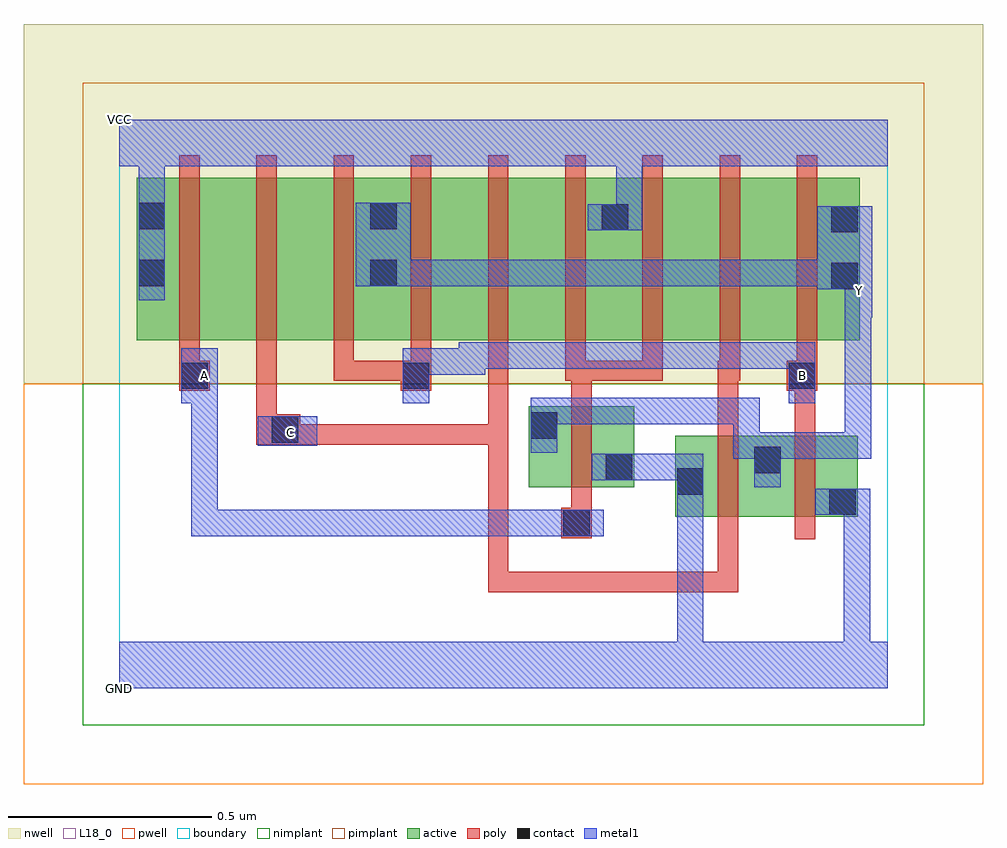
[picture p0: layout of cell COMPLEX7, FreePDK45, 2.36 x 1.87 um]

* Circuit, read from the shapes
.subckt COMPLEX7 A B C GND VCC Y
M1 GND A Y VSUBS nfet w=0.2u l=0.05u
M2 Y C GND VSUBS nfet w=0.2u l=0.05u
M3 GND B Y VSUBS nfet w=0.2u l=0.05u
M4 n1 A VCC n2 pfet w=0.4u l=0.05u
M5 n3 C n1 n2 pfet w=0.4u l=0.05u
M6 Y B n3 n2 pfet w=0.4u l=0.05u
M7 n4 B Y n2 pfet w=0.4u l=0.05u
M8 n5 C n4 n2 pfet w=0.4u l=0.05u
M9 VCC A n5 n2 pfet w=0.4u l=0.05u
M10 n6 A VCC n2 pfet w=0.4u l=0.05u
M11 n7 C n6 n2 pfet w=0.4u l=0.05u
M12 Y B n7 n2 pfet w=0.4u l=0.05u
.ends

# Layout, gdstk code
import gdstk
lib = gdstk.Library(unit=1e-6, precision=1e-09)
def R(c, l, rs):  # rectangles x0, y0, x1, y1
    for r in rs: c.add(gdstk.rectangle(r[:2], r[2:], *l))
def A(c, l, x, y, w, h, nx, ny, dx, dy):  # array of equal rectangles
    R(c, l, [(x+i*dx, y+j*dy, x+i*dx+w, y+j*dy+h) for i in range(nx) for j in range(ny)])
active = (1, 0)
pwell = (2, 0)
nwell = (3, 0)
nimplant = (4, 0)
pimplant = (5, 0)
poly = (9, 0)
contact = (10, 0)
metal1 = (11, 0)
L18_0 = (18, 0)
boundary = (235, 0)

complex7 = lib.new_cell('COMPLEX7')
A(complex7, active, 0.042, 0.857, 0.225, 0.4, 3, 1, 0.57, 0)
A(complex7, active, 0.267, 0.857, 0.19, 0.4, 3, 1, 0.57, 0)
R(complex7, active, [(1.367,0.422,1.442,0.622), (1.367,0.422,1.632,0.622), (1.557,0.422,1.817,0.622), (1.557,0.422,1.632,0.6), (1.742,0.422,1.817,0.622), (1.007,0.495,1.082,0.695), (1.007,0.495,1.267,0.695), (1.192,0.495,1.267,0.695), (0.042,0.857,0.117,1.205), (0.457,0.857,0.687,1.257), (1.027,0.857,1.257,1.257), (1.597,0.857,1.822,1.257), (1.747,0.857,1.822,1.2), (0.612,0.907,0.687,1.2), (1.182,0.907,1.257,1.205)])
R(complex7, pwell, [(-0.235,-0.235,2.125,0.75)])
R(complex7, nwell, [(-0.235,0.75,2.125,1.635)])
R(complex7, nimplant, [(-0.09,-0.09,1.98,0.75)])
R(complex7, pimplant, [(-0.09,0.75,1.98,1.49)])
A(complex7, poly, 1.097, 0.757, 0.05, 0.095, 4, 1, 0.19, 0)
A(complex7, poly, 0.147, 0.802, 0.05, 0.51, 9, 1, 0.19, 0)
R(complex7, poly, [(0.907,0.237,0.957,0.287), (0.907,0.237,0.957,0.287), (0.907,0.237,0.957,0.287), (0.907,0.237,0.957,0.287), (0.907,0.237,0.957,0.287), (0.907,0.237,1.205,0.287), (0.907,0.237,0.957,0.65), (1.155,0.237,1.205,0.287), (1.155,0.237,1.205,0.287), (1.155,0.237,1.205,0.287), (1.155,0.237,1.39,0.287), (1.34,0.237,1.39,0.287), (1.34,0.237,1.39,0.287), (1.34,0.237,1.39,0.287), (1.34,0.237,1.522,0.287), (1.472,0.237,1.522,0.417), (1.472,0.237,1.522,0.287), (1.472,0.237,1.522,0.287), (1.472,0.237,1.522,0.287), (1.472,0.367,1.522,0.677), (1.662,0.367,1.712,0.677), (1.087,0.37,1.162,0.445), (1.112,0.395,1.162,0.49), (1.112,0.44,1.162,0.75), (0.337,0.6,0.445,0.675), (0.395,0.6,0.445,0.65), (0.395,0.6,0.445,0.65), (0.395,0.6,0.445,0.65), (0.395,0.6,0.445,0.65), (0.395,0.6,0.445,0.65), (0.395,0.6,0.445,0.65), (0.395,0.6,0.577,0.65), (0.527,0.6,0.577,0.65), (0.527,0.6,0.692,0.65), (0.642,0.6,0.692,0.65), (0.642,0.6,0.825,0.65), (0.775,0.6,0.825,0.65), (0.775,0.6,0.825,0.65), (0.775,0.6,0.825,0.65), (0.775,0.6,0.957,0.65), (0.907,0.6,0.957,0.65), (0.907,0.6,0.957,0.65), (0.907,0.6,0.957,0.65), (0.907,0.6,0.957,0.65), (0.907,0.6,0.957,0.65), (0.907,0.6,0.957,0.852), (0.337,0.625,0.387,0.852), (1.472,0.627,1.522,0.807), (1.662,0.627,1.712,0.782), (1.112,0.7,1.162,0.807), (0.147,0.732,0.222,0.807), (0.692,0.732,0.767,0.807), (1.642,0.732,1.717,0.807), (0.147,0.757,0.197,0.852), (0.527,0.757,0.577,0.852), (0.527,0.757,0.577,0.807), (0.527,0.757,0.692,0.807), (0.642,0.757,0.692,0.807), (0.642,0.757,0.742,0.807), (0.717,0.757,0.767,0.852), (1.097,0.757,1.162,0.807), (1.112,0.757,1.162,0.807), (1.112,0.757,1.162,0.807), (1.112,0.757,1.337,0.807), (1.287,0.757,1.337,0.807), (1.472,0.757,1.527,0.807)])
R(complex7, contact, [(1.092,0.375,1.157,0.44), (1.747,0.427,1.812,0.492), (1.372,0.477,1.437,0.542), (1.197,0.512,1.262,0.577), (1.562,0.53,1.627,0.595), (0.375,0.605,0.44,0.67), (1.012,0.615,1.077,0.68), (0.152,0.737,0.217,0.802), (0.697,0.737,0.762,0.802), (1.647,0.737,1.712,0.802), (1.752,0.982,1.817,1.047), (0.047,0.99,0.112,1.055), (0.617,0.99,0.682,1.055), (1.752,1.122,1.817,1.187), (1.187,1.127,1.252,1.192), (0.047,1.13,0.112,1.195), (0.617,1.13,0.682,1.195)])
R(complex7, metal1, [(0,0,1.89,0.115), (1.372,0.05,1.437,0.115), (1.372,0.05,1.437,0.115), (1.372,0.05,1.437,0.115), (1.372,0.05,1.437,0.115), (1.372,0.05,1.437,0.115), (1.372,0.05,1.437,0.115), (1.372,0.05,1.437,0.507), (1.782,0.05,1.847,0.492), (0.177,0.375,0.242,0.44), (0.177,0.375,0.38,0.44), (0.177,0.375,0.242,0.767), (0.315,0.375,0.38,0.44), (0.315,0.375,0.38,0.44), (0.315,0.375,0.38,0.44), (0.315,0.375,0.517,0.44), (0.452,0.375,0.517,0.44), (0.452,0.375,0.655,0.44), (0.59,0.375,0.655,0.44), (0.59,0.375,0.655,0.44), (0.59,0.375,0.655,0.44), (0.59,0.375,0.9,0.44), (0.835,0.375,0.9,0.44), (0.835,0.375,0.9,0.44), (0.835,0.375,0.9,0.44), (0.835,0.375,0.9,0.44), (0.835,0.375,0.9,0.44), (0.835,0.375,0.9,0.44), (0.835,0.375,0.9,0.44), (0.835,0.375,1.037,0.44), (0.972,0.375,1.037,0.44), (0.972,0.375,1.122,0.44), (1.057,0.375,1.192,0.44), (1.712,0.427,1.847,0.492), (1.782,0.427,1.847,0.492), (1.782,0.427,1.847,0.492), (1.782,0.427,1.847,0.492), (1.782,0.427,1.847,0.492), (1.782,0.427,1.847,0.492), (1.782,0.427,1.847,0.492), (1.372,0.442,1.437,0.577), (1.562,0.495,1.627,0.63), (1.162,0.512,1.297,0.577), (1.232,0.512,1.352,0.577), (1.287,0.512,1.352,0.577), (1.287,0.512,1.437,0.577), (1.51,0.565,1.575,0.715), (1.51,0.565,1.627,0.63), (1.562,0.565,1.85,0.63), (1.785,0.565,1.85,0.63), (1.785,0.565,1.85,0.63), (1.785,0.565,1.85,0.63), (1.785,0.565,1.85,0.977), (1.012,0.58,1.077,0.715), (0.34,0.597,0.487,0.67), (1.012,0.65,1.077,0.715), (1.012,0.65,1.077,0.715), (1.012,0.65,1.215,0.715), (1.15,0.65,1.215,0.715), (1.15,0.65,1.215,0.715), (1.15,0.65,1.215,0.715), (1.15,0.65,1.437,0.715), (1.372,0.65,1.437,0.715), (1.372,0.65,1.575,0.715), (0.152,0.702,0.242,0.837), (0.177,0.702,0.242,0.767), (0.177,0.702,0.242,0.767), (0.697,0.702,0.762,0.837), (1.647,0.702,1.712,0.852), (0.697,0.772,0.9,0.837), (0.835,0.772,0.9,0.852), (0.835,0.787,0.9,0.852), (0.835,0.787,0.9,0.852), (0.835,0.787,1.037,0.852), (0.972,0.787,1.037,0.852), (0.972,0.787,1.037,0.852), (0.972,0.787,1.037,0.852), (0.972,0.787,1.3,0.852), (1.235,0.787,1.3,0.852), (1.235,0.787,1.335,0.852), (1.27,0.787,1.335,0.852), (1.27,0.787,1.49,0.852), (1.425,0.787,1.49,0.852), (1.425,0.787,1.525,0.852), (1.46,0.787,1.525,0.852), (1.46,0.787,1.64,0.852), (1.575,0.787,1.64,0.852), (1.575,0.787,1.712,0.852), (1.785,0.912,1.852,1.047), (0.047,0.955,0.112,1.23), (1.717,0.982,1.852,1.187), (1.785,0.982,1.85,1.047), (0.582,0.99,0.717,1.195), (0.652,0.99,0.717,1.055), (0.652,0.99,0.717,1.055), (0.652,0.99,0.9,1.055), (0.835,0.99,0.9,1.055), (0.835,0.99,0.9,1.055), (0.835,0.99,0.9,1.055), (0.835,0.99,1.037,1.055), (0.972,0.99,1.037,1.055), (0.972,0.99,1.037,1.055), (0.972,0.99,1.037,1.055), (0.972,0.99,1.3,1.055), (1.235,0.99,1.3,1.055), (1.235,0.99,1.33,1.055), (1.265,0.99,1.33,1.055), (1.265,0.99,1.49,1.055), (1.425,0.99,1.49,1.055), (1.425,0.99,1.49,1.055), (1.425,0.99,1.49,1.055), (1.425,0.99,1.64,1.055), (1.575,0.99,1.64,1.055), (1.575,0.99,1.782,1.055), (1.717,0.99,1.782,1.055), (1.717,0.99,1.782,1.055), (1.152,1.127,1.287,1.192), (1.222,1.127,1.287,1.35), (0.047,1.165,0.112,1.35), (0,1.285,1.89,1.4)])
R(complex7, L18_0, [(0,0,1.89,0.115), (1.372,0.05,1.437,0.115), (1.372,0.05,1.437,0.115), (1.372,0.05,1.437,0.115), (1.372,0.05,1.437,0.115), (1.372,0.05,1.437,0.115), (1.372,0.05,1.437,0.115), (1.372,0.05,1.437,0.507), (1.782,0.05,1.847,0.492), (0.177,0.375,0.242,0.44), (0.177,0.375,0.242,0.767), (0.177,0.375,0.38,0.44), (0.315,0.375,0.38,0.44), (0.315,0.375,0.38,0.44), (0.315,0.375,0.38,0.44), (0.315,0.375,0.517,0.44), (0.452,0.375,0.517,0.44), (0.452,0.375,0.655,0.44), (0.59,0.375,0.655,0.44), (0.59,0.375,0.655,0.44), (0.59,0.375,0.655,0.44), (0.59,0.375,0.9,0.44), (0.835,0.375,0.9,0.44), (0.835,0.375,0.9,0.44), (0.835,0.375,0.9,0.44), (0.835,0.375,0.9,0.44), (0.835,0.375,0.9,0.44), (0.835,0.375,0.9,0.44), (0.835,0.375,0.9,0.44), (0.835,0.375,1.037,0.44), (0.972,0.375,1.037,0.44), (0.972,0.375,1.122,0.44), (1.057,0.375,1.192,0.44), (1.712,0.427,1.847,0.492), (1.782,0.427,1.847,0.492), (1.782,0.427,1.847,0.492), (1.782,0.427,1.847,0.492), (1.782,0.427,1.847,0.492), (1.782,0.427,1.847,0.492), (1.782,0.427,1.847,0.492), (1.372,0.442,1.437,0.577), (1.562,0.495,1.627,0.63), (1.162,0.512,1.297,0.577), (1.232,0.512,1.352,0.577), (1.287,0.512,1.352,0.577), (1.287,0.512,1.437,0.577), (1.51,0.565,1.575,0.715), (1.51,0.565,1.627,0.63), (1.562,0.565,1.85,0.63), (1.785,0.565,1.85,0.63), (1.785,0.565,1.85,0.63), (1.785,0.565,1.85,0.63), (1.785,0.565,1.85,0.977), (1.012,0.58,1.077,0.715), (0.34,0.597,0.487,0.67), (0.387,0.597,0.452,0.662), (1.012,0.65,1.077,0.715), (1.012,0.65,1.077,0.715), (1.012,0.65,1.215,0.715), (1.15,0.65,1.215,0.715), (1.15,0.65,1.215,0.715), (1.15,0.65,1.215,0.715), (1.15,0.65,1.437,0.715), (1.372,0.65,1.437,0.715), (1.372,0.65,1.575,0.715), (0.152,0.702,0.242,0.837), (0.177,0.702,0.242,0.767), (0.177,0.702,0.242,0.767), (0.697,0.702,0.762,0.837), (1.647,0.702,1.712,0.852), (0.177,0.737,0.242,0.802), (1.647,0.737,1.712,0.802), (0.697,0.772,0.9,0.837), (0.835,0.772,0.9,0.852), (0.835,0.787,0.9,0.852), (0.835,0.787,0.9,0.852), (0.835,0.787,1.037,0.852), (0.972,0.787,1.037,0.852), (0.972,0.787,1.037,0.852), (0.972,0.787,1.037,0.852), (0.972,0.787,1.3,0.852), (1.235,0.787,1.3,0.852), (1.235,0.787,1.335,0.852), (1.27,0.787,1.335,0.852), (1.27,0.787,1.49,0.852), (1.425,0.787,1.49,0.852), (1.425,0.787,1.525,0.852), (1.46,0.787,1.525,0.852), (1.46,0.787,1.64,0.852), (1.575,0.787,1.64,0.852), (1.575,0.787,1.712,0.852), (1.785,0.912,1.852,1.047), (1.787,0.947,1.852,1.012), (0.047,0.955,0.112,1.23), (1.717,0.982,1.852,1.187), (1.785,0.982,1.85,1.047), (0.582,0.99,0.717,1.195), (0.652,0.99,0.717,1.055), (0.652,0.99,0.717,1.055), (0.652,0.99,0.9,1.055), (0.835,0.99,0.9,1.055), (0.835,0.99,0.9,1.055), (0.835,0.99,0.9,1.055), (0.835,0.99,1.037,1.055), (0.972,0.99,1.037,1.055), (0.972,0.99,1.037,1.055), (0.972,0.99,1.037,1.055), (0.972,0.99,1.3,1.055), (1.235,0.99,1.3,1.055), (1.235,0.99,1.33,1.055), (1.265,0.99,1.33,1.055), (1.265,0.99,1.49,1.055), (1.425,0.99,1.49,1.055), (1.425,0.99,1.49,1.055), (1.425,0.99,1.49,1.055), (1.425,0.99,1.64,1.055), (1.575,0.99,1.64,1.055), (1.575,0.99,1.782,1.055), (1.717,0.99,1.782,1.055), (1.717,0.99,1.782,1.055), (1.152,1.127,1.287,1.192), (1.222,1.127,1.287,1.35), (0.047,1.165,0.112,1.35), (0,1.285,1.89,1.4)])
R(complex7, boundary, [(0,0,1.89,1.4)])
complex7.add(gdstk.Label('A', (0.21,0.77), layer=11, texttype=0))
complex7.add(gdstk.Label('B', (1.68,0.77), layer=11, texttype=0))
complex7.add(gdstk.Label('C', (0.42,0.63), layer=11, texttype=0))
complex7.add(gdstk.Label('Y', (1.82,0.98), layer=11, texttype=0))
complex7.add(gdstk.Label('VCC', (0,1.4), layer=11, texttype=0))
complex7.add(gdstk.Label('GND', (0,0), layer=11, texttype=0))

lib.write_gds('COMPLEX7.gds')
